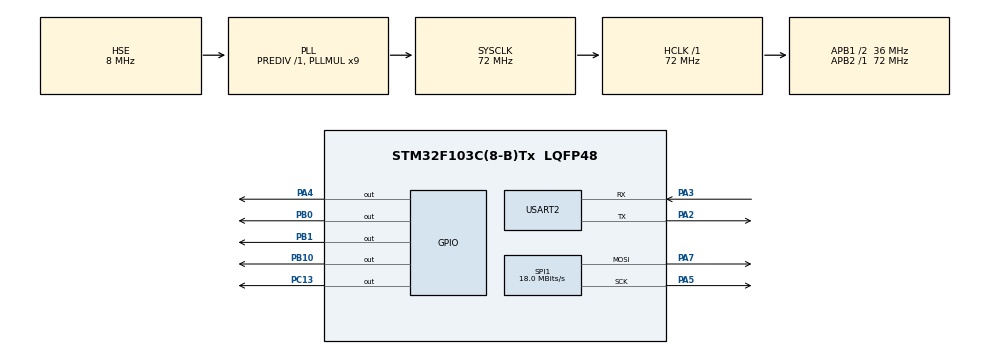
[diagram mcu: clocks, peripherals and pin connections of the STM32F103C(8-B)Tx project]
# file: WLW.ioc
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Dma.Request0=SPI1_TX
Dma.SPI1_TX.0.Direction=DMA_MEMORY_TO_PERIPH
Dma.SPI1_TX.0.Instance=DMA1_Channel3
Dma.SPI1_TX.0.MemDataAlignment=DMA_MDATAALIGN_BYTE
Dma.SPI1_TX.0.MemInc=DMA_MINC_ENABLE
Dma.SPI1_TX.0.Mode=DMA_NORMAL
Dma.SPI1_TX.0.PeriphDataAlignment=DMA_PDATAALIGN_BYTE
Dma.SPI1_TX.0.PeriphInc=DMA_PINC_DISABLE
Dma.SPI1_TX.0.Priority=DMA_PRIORITY_MEDIUM
Mcu.Family=STM32F1
Mcu.Name=STM32F103C(8-B)Tx
Mcu.Package=LQFP48
NVIC.DMA1_Channel3_IRQn=true\:0\:0\:false\:false\:true\:false\:true\:true
NVIC.PriorityGroup=NVIC_PRIORITYGROUP_4
NVIC.TIM4_IRQn=true\:15\:0\:false\:false\:true\:false\:true\:true
NVIC.TimeBase=TIM4_IRQn
NVIC.TimeBaseIP=TIM4
NVIC.USART2_IRQn=true\:5\:0\:true\:false\:true\:true\:true\:true
PA13.Mode=Serial_Wire
PA13.Signal=SYS_JTMS-SWDIO
PA14.Mode=Serial_Wire
PA14.Signal=SYS_JTCK-SWCLK
PA2.Mode=Asynchronous
PA2.Signal=USART2_TX
PA3.Mode=Asynchronous
PA3.Signal=USART2_RX
PA4.GPIO_Speed=GPIO_SPEED_FREQ_HIGH
PA4.PinState=GPIO_PIN_SET
PA4.Signal=GPIO_Output
PA5.Mode=TX_Only_Simplex_Unidirect_Master
PA5.Signal=SPI1_SCK
PA7.Mode=TX_Only_Simplex_Unidirect_Master
PA7.Signal=SPI1_MOSI
PB0.GPIO_Speed=GPIO_SPEED_FREQ_HIGH
PB0.Signal=GPIO_Output
PB1.GPIO_Speed=GPIO_SPEED_FREQ_HIGH
PB1.Signal=GPIO_Output
PB10.GPIO_Speed=GPIO_SPEED_FREQ_HIGH
PB10.Signal=GPIO_Output
PC13-TAMPER-RTC.GPIO_Speed=GPIO_SPEED_FREQ_HIGH
PC13-TAMPER-RTC.PinState=GPIO_PIN_SET
PC13-TAMPER-RTC.Signal=GPIO_Output
PC14-OSC32_IN.Mode=LSE-External-Oscillator
PC14-OSC32_IN.Signal=RCC_OSC32_IN
PC15-OSC32_OUT.Mode=LSE-External-Oscillator
PC15-OSC32_OUT.Signal=RCC_OSC32_OUT
PD0-OSC_IN.Mode=HSE-External-Oscillator
PD0-OSC_IN.Signal=RCC_OSC_IN
PD1-OSC_OUT.Mode=HSE-External-Oscillator
PD1-OSC_OUT.Signal=RCC_OSC_OUT
ProjectManager.HeapSize=0x200
ProjectManager.StackSize=0x400
ProjectManager.TargetToolchain=MDK-ARM V5.32
RCC.AHBFreq_Value=72000000
RCC.APB1CLKDivider=RCC_HCLK_DIV2
RCC.APB1Freq_Value=36000000
RCC.APB1TimFreq_Value=72000000
RCC.APB2Freq_Value=72000000
RCC.APB2TimFreq_Value=72000000
RCC.HCLKFreq_Value=72000000
RCC.PLLMUL=RCC_PLL_MUL9
RCC.PLLSourceVirtual=RCC_PLLSOURCE_HSE
RCC.RTCClockSelection=RCC_RTCCLKSOURCE_LSE
RCC.SYSCLKFreq_VALUE=72000000
RCC.SYSCLKSource=RCC_SYSCLKSOURCE_PLLCLK
RCC.USBFreq_Value=72000000
SPI1.BaudRatePrescaler=SPI_BAUDRATEPRESCALER_4
SPI1.CLKPhase=SPI_PHASE_2EDGE
SPI1.CLKPolarity=SPI_POLARITY_HIGH
SPI1.CalculateBaudRate=18.0 MBits/s
SPI1.Direction=SPI_DIRECTION_2LINES
SPI1.Mode=SPI_MODE_MASTER
SPI1.VirtualType=VM_MASTER
USART2.VirtualMode=VM_ASYNC
VP_RTC_VS_RTC_Activate.Mode=RTC_Enabled
VP_SYS_VS_tim4.Mode=TIM4
board=custom

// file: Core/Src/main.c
/* USER CODE BEGIN Header */
/**
  ******************************************************************************
  * @file           : main.c
  * @brief          : Main program body
  ******************************************************************************
  * @attention
  *
  * Copyright (c) 2025 STMicroelectronics.
  * All rights reserved.
  *
  * This software is licensed under terms that can be found in the LICENSE file
  * in the root directory of this software component.
  * If no LICENSE file comes with this software, it is provided AS-IS.
  *
  ******************************************************************************
  */
/* USER CODE END Header */
#include "main.h"
#include "dma.h"
#include "rtc.h"
#include "spi.h"
#include "usart.h"
#include "gpio.h"

/* USER CODE BEGIN Includes */
#include "FreeRTOS.h"
#include "Task.h"
#include "st7735.h"
#include "stfonts.h"
#include "stimage.h"
/* USER CODE END Includes */

void SystemClock_Config(void);

/* USER CODE BEGIN 0 */

static const char *wifi_ssid = "XYZ";
static const char *wifi_password = "12345678";
static const char *weather_uri = "https://api.seniverse.com/v3/weather/now.json?key=Sj27U2dptuRk7trEu&location=jilin&language=en&unit=c";
static uint32_t disp_height;
static void wifi_init(void)
{
  (void)wifi_ssid;
  (void)wifi_password;
  (void)weather_uri;
}
void app_init(void)
{
  st7735_init();
  st7735_fill_screen(ST7735_BG);
  st7735_write_string(0, 0, "Initializing...", &font_ascii_8x16, ST7735_BLACK, ST7735_BG);
  disp_height += font_ascii_8x16.height;
  HAL_Delay(500);
  st7735_write_string(0, disp_height, "Wait ESP32...", &font_ascii_8x16, ST7735_BLACK, ST7735_BG);
  disp_height += font_ascii_8x16.height;
  HAL_Delay(1500);
  wifi_init();
}

/* USER CODE END 0 */

int main(void)
{

  /* MCU Configuration--------------------------------------------------------*/

  /* Reset of all peripherals, Initializes the Flash interface and the Systick. */
  HAL_Init();

  /* Configure the system clock */
  SystemClock_Config();

  /* Initialize all configured peripherals */
  MX_GPIO_Init();
  MX_DMA_Init();
  MX_SPI1_Init();
  MX_RTC_Init();
  MX_USART2_UART_Init();
  /* USER CODE BEGIN 2 */
  app_init();
  /* USER CODE END 2 */

  /* Infinite loop */
  while (1)
  {

  }
}

void SystemClock_Config(void)
{
  RCC_OscInitTypeDef RCC_OscInitStruct = {0};
  RCC_ClkInitTypeDef RCC_ClkInitStruct = {0};
  RCC_PeriphCLKInitTypeDef PeriphClkInit = {0};

  /** Initializes the RCC Oscillators according to the specified parameters
  * in the RCC_OscInitTypeDef structure.
  */
  RCC_OscInitStruct.OscillatorType = RCC_OSCILLATORTYPE_HSE|RCC_OSCILLATORTYPE_LSE;
  RCC_OscInitStruct.HSEState = RCC_HSE_ON;
  RCC_OscInitStruct.HSEPredivValue = RCC_HSE_PREDIV_DIV1;
  RCC_OscInitStruct.LSEState = RCC_LSE_ON;
  RCC_OscInitStruct.HSIState = RCC_HSI_ON;
  RCC_OscInitStruct.PLL.PLLState = RCC_PLL_ON;
  RCC_OscInitStruct.PLL.PLLSource = RCC_PLLSOURCE_HSE;
  RCC_OscInitStruct.PLL.PLLMUL = RCC_PLL_MUL9;
  if (HAL_RCC_OscConfig(&RCC_OscInitStruct) != HAL_OK)
  {
    Error_Handler();
  }

  /** Initializes the CPU, AHB and APB buses clocks
  */
  RCC_ClkInitStruct.ClockType = RCC_CLOCKTYPE_HCLK|RCC_CLOCKTYPE_SYSCLK
                              |RCC_CLOCKTYPE_PCLK1|RCC_CLOCKTYPE_PCLK2;
  RCC_ClkInitStruct.SYSCLKSource = RCC_SYSCLKSOURCE_PLLCLK;
  RCC_ClkInitStruct.AHBCLKDivider = RCC_SYSCLK_DIV1;
  RCC_ClkInitStruct.APB1CLKDivider = RCC_HCLK_DIV2;
  RCC_ClkInitStruct.APB2CLKDivider = RCC_HCLK_DIV1;

  if (HAL_RCC_ClockConfig(&RCC_ClkInitStruct, FLASH_LATENCY_2) != HAL_OK)
  {
    Error_Handler();
  }
  PeriphClkInit.PeriphClockSelection = RCC_PERIPHCLK_RTC;
  PeriphClkInit.RTCClockSelection = RCC_RTCCLKSOURCE_LSE;
  if (HAL_RCCEx_PeriphCLKConfig(&PeriphClkInit) != HAL_OK)
  {
    Error_Handler();
  }
}

void HAL_TIM_PeriodElapsedCallback(TIM_HandleTypeDef *htim)
{
  if (htim->Instance == TIM4)
  {
    HAL_IncTick();
  }
}

void Error_Handler(void)
{
  __disable_irq();
  while (1)
  {
  }
}
